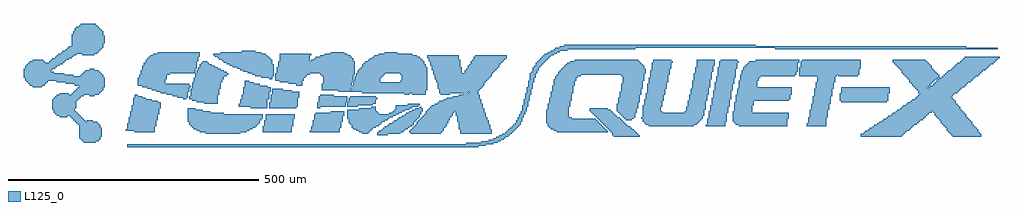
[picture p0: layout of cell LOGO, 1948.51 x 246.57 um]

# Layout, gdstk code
import gdstk
lib = gdstk.Library(unit=1e-6, precision=1e-09)
def P(c, l, *ps):  # polygons
    for p in ps: c.add(gdstk.Polygon(p, *l))
L125_0 = (125, 0)

logo = lib.new_cell('LOGO')
P(logo, L125_0, [(-16.575,-6.685),(-16.575,-0.671),(659.991,-0.671),(659.991,2.336),(690.061,2.336),(690.061,5.342),(705.096,5.342),(705.096,8.349),(714.116,8.349),(714.116,11.356),(720.13,11.356),(720.13,14.363),(726.144,14.363),(726.144,17.37),(732.158,17.37),(732.158,20.377),(738.172,20.377),(738.172,23.384),(741.179,23.384),(741.179,26.391),(744.186,26.391),(744.186,29.398),(747.193,29.398),(747.193,32.405),(750.2,32.405),(750.2,35.412),(753.207,35.412),(753.207,38.419),(756.214,38.419),(756.214,41.426),(759.221,41.426),(759.221,47.44),(762.228,47.44),(762.228,53.454),(765.235,53.454),(765.235,59.468),(768.242,59.468),(768.242,65.482),(771.249,65.482),(771.249,77.51),(774.256,77.51),(774.256,89.537),(777.263,89.537),(777.263,101.565),(780.27,101.565),(780.27,113.593),(783.277,113.593),(783.277,125.621),(786.284,125.621),(786.284,140.656),(789.29,140.656),(789.29,143.663),(792.297,143.663),(792.297,152.684),(795.304,152.684),(795.304,155.69),(798.311,155.69),(798.311,161.704),(801.318,161.704),(801.318,164.711),(804.325,164.711),(804.325,167.718),(807.332,167.718),(807.332,170.725),(810.339,170.725),(810.339,173.732),(813.346,173.732),(813.346,176.739),(816.353,176.739),(816.353,179.746),(822.367,179.746),(822.367,182.753),(828.381,182.753),(828.381,185.76),(834.395,185.76),(834.395,188.767),(837.402,188.767),(837.402,191.774),(846.423,191.774),(846.423,194.781),(855.444,194.781),(855.444,197.788),(1237.328,197.788),(1237.328,194.781),(1658.302,194.781),(1658.302,191.774),(1721.448,191.774),(1721.448,188.767),(1276.418,188.767),(1276.418,191.774),(996.771,191.774),(996.771,188.767),(861.458,188.767),(861.458,185.76),(846.423,185.76),(846.423,182.753),(840.409,182.753),(840.409,179.746),(834.395,179.746),(834.395,176.739),(828.381,176.739),(828.381,173.732),(825.374,173.732),(825.374,170.725),(822.367,170.725),(822.367,167.718),(819.36,167.718),(819.36,164.711),(816.353,164.711),(816.353,161.704),(813.346,161.704),(813.346,158.697),(810.339,158.697),(810.339,155.69),(807.332,155.69),(807.332,152.684),(804.325,152.684),(804.325,146.67),(801.318,146.67),(801.318,140.656),(798.311,140.656),(798.311,131.635),(795.304,131.635),(795.304,122.614),(792.297,122.614),(792.297,110.586),(789.29,110.586),(789.29,98.558),(786.284,98.558),(786.284,86.53),(783.277,86.53),(783.277,74.503),(780.27,74.503),(780.27,65.482),(777.263,65.482),(777.263,59.468),(774.256,59.468),(774.256,53.454),(771.249,53.454),(771.249,44.433),(768.242,44.433),(768.242,38.419),(765.235,38.419),(765.235,35.412),(762.228,35.412),(762.228,32.405),(759.221,32.405),(759.221,29.398),(756.214,29.398),(756.214,26.391),(753.207,26.391),(753.207,23.384),(750.2,23.384),(750.2,20.377),(747.193,20.377),(747.193,17.37),(744.186,17.37),(744.186,14.363),(738.172,14.363),(738.172,11.356),(735.165,11.356),(735.165,8.349),(729.151,8.349),(729.151,5.342),(723.137,5.342),(723.137,2.336),(714.116,2.336),(714.116,-0.671),(699.082,-0.671),(699.082,-3.678),(684.047,-3.678),(684.047,-6.685)],
  [(266.079,128.628),(266.079,131.635),(251.045,131.635),(251.045,134.642),(239.017,134.642),(239.017,137.649),(233.003,137.649),(233.003,140.656),(223.982,140.656),(223.982,143.663),(214.961,143.663),(214.961,146.67),(208.947,146.67),(208.947,149.677),(202.933,149.677),(202.933,152.684),(193.912,152.684),(193.912,155.69),(187.898,155.69),(187.898,158.697),(181.885,158.697),(181.885,161.704),(175.871,161.704),(175.871,164.711),(172.864,164.711),(172.864,167.718),(166.85,167.718),(166.85,170.725),(163.843,170.725),(163.843,173.732),(157.829,173.732),(157.829,176.739),(154.822,176.739),(154.822,179.746),(169.857,179.746),(169.857,182.753),(211.954,182.753),(211.954,185.76),(239.017,185.76),(239.017,182.753),(251.045,182.753),(251.045,179.746),(260.066,179.746),(260.066,176.739),(263.072,176.739),(263.072,173.732),(266.079,173.732),(266.079,170.725),(269.086,170.725),(269.086,167.718),(272.093,167.718),(272.093,158.697),(275.1,158.697),(275.1,134.642),(272.093,134.642),(272.093,128.628)],
  [(94.683,89.537),(94.683,92.544),(82.655,92.544),(82.655,95.551),(73.634,95.551),(73.634,98.558),(61.606,98.558),(61.606,101.565),(49.578,101.565),(49.578,104.572),(40.557,104.572),(40.557,107.579),(31.537,107.579),(31.537,110.586),(22.516,110.586),(22.516,113.593),(13.495,113.593),(13.495,116.6),(4.474,116.6),(4.474,131.635),(7.481,131.635),(7.481,137.649),(10.488,137.649),(10.488,146.67),(13.495,146.67),(13.495,155.69),(16.502,155.69),(16.502,161.704),(19.509,161.704),(19.509,167.718),(22.516,167.718),(22.516,170.725),(25.523,170.725),(25.523,173.732),(28.53,173.732),(28.53,176.739),(34.544,176.739),(34.544,179.746),(43.564,179.746),(43.564,182.753),(127.759,182.753),(127.759,173.732),(124.752,173.732),(124.752,164.711),(121.745,164.711),(121.745,149.677),(118.738,149.677),(118.738,140.656),(67.62,140.656),(67.62,137.649),(61.606,137.649),(61.606,128.628),(58.599,128.628),(58.599,119.607),(106.711,119.607),(106.711,116.6),(109.718,116.6),(109.718,113.593),(106.711,113.593),(106.711,104.572),(103.704,104.572),(103.704,92.544),(100.697,92.544),(100.697,89.537)],
  [(1447.815,14.363),(1447.815,20.377),(1453.829,20.377),(1453.829,23.384),(1456.836,23.384),(1456.836,26.391),(1462.85,26.391),(1462.85,29.398),(1465.856,29.398),(1465.856,32.405),(1471.87,32.405),(1471.87,35.412),(1474.877,35.412),(1474.877,38.419),(1480.891,38.419),(1480.891,41.426),(1483.898,41.426),(1483.898,44.433),(1489.912,44.433),(1489.912,47.44),(1492.919,47.44),(1492.919,50.447),(1498.933,50.447),(1498.933,53.454),(1501.94,53.454),(1501.94,56.461),(1507.954,56.461),(1507.954,59.468),(1510.961,59.468),(1510.961,62.475),(1516.975,62.475),(1516.975,65.482),(1519.982,65.482),(1519.982,68.489),(1525.996,68.489),(1525.996,71.496),(1529.003,71.496),(1529.003,74.503),(1532.01,74.503),(1532.01,77.51),(1538.024,77.51),(1538.024,80.516),(1541.03,80.516),(1541.03,83.523),(1547.044,83.523),(1547.044,86.53),(1550.051,86.53),(1550.051,89.537),(1556.065,89.537),(1556.065,92.544),(1559.072,92.544),(1559.072,95.551),(1562.079,95.551),(1562.079,98.558),(1565.086,98.558),(1565.086,101.565),(1562.079,101.565),(1562.079,107.579),(1559.072,107.579),(1559.072,110.586),(1556.065,110.586),(1556.065,113.593),(1553.058,113.593),(1553.058,116.6),(1550.051,116.6),(1550.051,119.607),(1547.044,119.607),(1547.044,122.614),(1544.037,122.614),(1544.037,128.628),(1541.03,128.628),(1541.03,131.635),(1538.024,131.635),(1538.024,134.642),(1535.017,134.642),(1535.017,137.649),(1532.01,137.649),(1532.01,140.656),(1529.003,140.656),(1529.003,146.67),(1525.996,146.67),(1525.996,149.677),(1522.989,149.677),(1522.989,152.684),(1519.982,152.684),(1519.982,155.69),(1516.975,155.69),(1516.975,158.697),(1513.968,158.697),(1513.968,161.704),(1510.961,161.704),(1510.961,167.718),(1577.114,167.718),(1577.114,164.711),(1580.121,164.711),(1580.121,161.704),(1583.128,161.704),(1583.128,158.697),(1586.135,158.697),(1586.135,155.69),(1589.142,155.69),(1589.142,149.677),(1592.149,149.677),(1592.149,146.67),(1595.156,146.67),(1595.156,125.621),(1592.149,125.621),(1592.149,122.614),(1589.142,122.614),(1589.142,119.607),(1586.135,119.607),(1586.135,116.6),(1583.128,116.6),(1583.128,113.593),(1580.121,113.593),(1580.121,110.586),(1583.128,110.586),(1583.128,113.593),(1586.135,113.593),(1586.135,116.6),(1592.149,116.6),(1592.149,119.607),(1595.156,119.607),(1595.156,62.475),(1592.149,62.475),(1592.149,65.482),(1589.142,65.482),(1589.142,62.475),(1583.128,62.475),(1583.128,59.468),(1580.121,59.468),(1580.121,56.461),(1577.114,56.461),(1577.114,53.454),(1574.107,53.454),(1574.107,50.447),(1571.1,50.447),(1571.1,47.44),(1565.086,47.44),(1565.086,44.433),(1562.079,44.433),(1562.079,41.426),(1559.072,41.426),(1559.072,38.419),(1553.058,38.419),(1553.058,35.412),(1550.051,35.412),(1550.051,32.405),(1547.044,32.405),(1547.044,29.398),(1544.037,29.398),(1544.037,26.391),(1538.024,26.391),(1538.024,23.384),(1535.017,23.384),(1535.017,20.377),(1532.01,20.377),(1532.01,17.37),(1529.003,17.37),(1529.003,14.363)],
  [(1631.239,14.363),(1631.239,17.37),(1628.232,17.37),(1628.232,20.377),(1625.225,20.377),(1625.225,23.384),(1622.218,23.384),(1622.218,26.391),(1619.211,26.391),(1619.211,32.405),(1616.204,32.405),(1616.204,35.412),(1613.198,35.412),(1613.198,38.419),(1610.191,38.419),(1610.191,41.426),(1607.184,41.426),(1607.184,47.44),(1604.177,47.44),(1604.177,50.447),(1601.17,50.447),(1601.17,53.454),(1598.163,53.454),(1598.163,56.461),(1595.156,56.461),(1595.156,122.614),(1598.163,122.614),(1598.163,125.621),(1601.17,125.621),(1601.17,128.628),(1604.177,128.628),(1604.177,131.635),(1610.191,131.635),(1610.191,134.642),(1613.198,134.642),(1613.198,137.649),(1616.204,137.649),(1616.204,140.656),(1619.211,140.656),(1619.211,143.663),(1622.218,143.663),(1622.218,146.67),(1628.232,146.67),(1628.232,149.677),(1631.239,149.677),(1631.239,152.684),(1634.246,152.684),(1634.246,155.69),(1637.253,155.69),(1637.253,158.697),(1640.26,158.697),(1640.26,161.704),(1646.274,161.704),(1646.274,164.711),(1649.281,164.711),(1649.281,167.718),(1652.288,167.718),(1652.288,170.725),(1655.295,170.725),(1655.295,173.732),(1724.455,173.732),(1724.455,170.725),(1721.448,170.725),(1721.448,167.718),(1718.441,167.718),(1718.441,164.711),(1715.434,164.711),(1715.434,161.704),(1712.427,161.704),(1712.427,158.697),(1706.413,158.697),(1706.413,155.69),(1703.406,155.69),(1703.406,152.684),(1700.399,152.684),(1700.399,149.677),(1697.392,149.677),(1697.392,146.67),(1691.378,146.67),(1691.378,143.663),(1688.372,143.663),(1688.372,140.656),(1685.365,140.656),(1685.365,137.649),(1682.358,137.649),(1682.358,134.642),(1676.344,134.642),(1676.344,131.635),(1673.337,131.635),(1673.337,128.628),(1670.33,128.628),(1670.33,125.621),(1667.323,125.621),(1667.323,122.614),(1661.309,122.614),(1661.309,119.607),(1658.302,119.607),(1658.302,116.6),(1655.295,116.6),(1655.295,113.593),(1649.281,113.593),(1649.281,110.586),(1646.274,110.586),(1646.274,107.579),(1643.267,107.579),(1643.267,104.572),(1640.26,104.572),(1640.26,101.565),(1634.246,101.565),(1634.246,98.558),(1631.239,98.558),(1631.239,95.551),(1628.232,95.551),(1628.232,92.544),(1631.239,92.544),(1631.239,89.537),(1634.246,89.537),(1634.246,86.53),(1637.253,86.53),(1637.253,80.516),(1640.26,80.516),(1640.26,77.51),(1643.267,77.51),(1643.267,74.503),(1646.274,74.503),(1646.274,68.489),(1649.281,68.489),(1649.281,65.482),(1652.288,65.482),(1652.288,62.475),(1655.295,62.475),(1655.295,59.468),(1658.302,59.468),(1658.302,53.454),(1661.309,53.454),(1661.309,50.447),(1664.316,50.447),(1664.316,47.44),(1667.323,47.44),(1667.323,44.433),(1670.33,44.433),(1670.33,38.419),(1673.337,38.419),(1673.337,35.412),(1676.344,35.412),(1676.344,32.405),(1679.351,32.405),(1679.351,29.398),(1682.358,29.398),(1682.358,23.384),(1685.365,23.384),(1685.365,20.377),(1688.372,20.377),(1688.372,14.363)],
  [(1595.156,128.628),(1595.156,143.663),(1598.163,143.663),(1598.163,140.656),(1601.17,140.656),(1601.17,137.649),(1604.177,137.649),(1604.177,131.635),(1601.17,131.635),(1601.17,128.628)],
  [(1339.564,35.412),(1339.564,41.426),(1342.571,41.426),(1342.571,53.454),(1345.578,53.454),(1345.578,68.489),(1348.585,68.489),(1348.585,80.516),(1351.592,80.516),(1351.592,95.551),(1354.599,95.551),(1354.599,110.586),(1357.606,110.586),(1357.606,122.614),(1360.613,122.614),(1360.613,134.642),(1324.529,134.642),(1324.529,152.684),(1327.536,152.684),(1327.536,164.711),(1330.543,164.711),(1330.543,167.718),(1447.815,167.718),(1447.815,149.677),(1444.808,149.677),(1444.808,137.649),(1441.801,137.649),(1441.801,134.642),(1402.71,134.642),(1402.71,137.649),(1399.703,137.649),(1399.703,134.642),(1396.696,134.642),(1396.696,122.614),(1393.689,122.614),(1393.689,110.586),(1390.682,110.586),(1390.682,95.551),(1387.676,95.551),(1387.676,80.516),(1384.669,80.516),(1384.669,68.489),(1381.662,68.489),(1381.662,53.454),(1378.655,53.454),(1378.655,35.412)],
  [(1204.251,35.412),(1204.251,38.419),(1198.237,38.419),(1198.237,41.426),(1195.23,41.426),(1195.23,44.433),(1192.223,44.433),(1192.223,65.482),(1195.23,65.482),(1195.23,83.523),(1198.237,83.523),(1198.237,98.558),(1201.244,98.558),(1201.244,110.586),(1204.251,110.586),(1204.251,125.621),(1207.258,125.621),(1207.258,137.649),(1210.265,137.649),(1210.265,146.67),(1213.272,146.67),(1213.272,152.684),(1216.279,152.684),(1216.279,155.69),(1219.286,155.69),(1219.286,158.697),(1222.293,158.697),(1222.293,161.704),(1225.3,161.704),(1225.3,164.711),(1237.328,164.711),(1237.328,167.718),(1324.529,167.718),(1324.529,161.704),(1321.522,161.704),(1321.522,143.663),(1318.515,143.663),(1318.515,137.649),(1315.508,137.649),(1315.508,134.642),(1246.348,134.642),(1246.348,131.635),(1243.341,131.635),(1243.341,125.621),(1240.334,125.621),(1240.334,113.593),(1309.495,113.593),(1309.495,98.558),(1306.488,98.558),(1306.488,89.537),(1303.481,89.537),(1303.481,86.53),(1234.321,86.53),(1234.321,77.51),(1231.314,77.51),(1231.314,62.475),(1303.481,62.475),(1303.481,50.447),(1300.474,50.447),(1300.474,35.412)],
  [(840.409,23.384),(840.409,26.391),(834.395,26.391),(834.395,29.398),(828.381,29.398),(828.381,32.405),(825.374,32.405),(825.374,35.412),(822.367,35.412),(822.367,41.426),(819.36,41.426),(819.36,68.489),(822.367,68.489),(822.367,80.516),(825.374,80.516),(825.374,92.544),(828.381,92.544),(828.381,104.572),(831.388,104.572),(831.388,116.6),(834.395,116.6),(834.395,128.628),(837.402,128.628),(837.402,134.642),(840.409,134.642),(840.409,137.649),(843.416,137.649),(843.416,143.663),(846.423,143.663),(846.423,146.67),(849.43,146.67),(849.43,149.677),(852.437,149.677),(852.437,152.684),(855.444,152.684),(855.444,155.69),(858.451,155.69),(858.451,158.697),(861.458,158.697),(861.458,161.704),(867.471,161.704),(867.471,164.711),(876.492,164.711),(876.492,167.718),(1002.785,167.718),(1002.785,164.711),(1005.792,164.711),(1005.792,161.704),(1008.799,161.704),(1008.799,158.697),(1011.806,158.697),(1011.806,155.69),(1014.812,155.69),(1014.812,149.677),(1017.819,149.677),(1017.819,140.656),(1014.812,140.656),(1014.812,125.621),(1011.806,125.621),(1011.806,110.586),(1008.799,110.586),(1008.799,98.558),(1005.792,98.558),(1005.792,83.523),(1002.785,83.523),(1002.785,71.496),(999.778,71.496),(999.778,62.475),(996.771,62.475),(996.771,53.454),(993.764,53.454),(993.764,50.447),(990.757,50.447),(990.757,47.44),(978.729,47.44),(978.729,50.447),(975.722,50.447),(975.722,53.454),(972.715,53.454),(972.715,56.461),(969.708,56.461),(969.708,59.468),(966.701,59.468),(966.701,62.475),(963.694,62.475),(963.694,65.482),(960.687,65.482),(960.687,80.516),(963.694,80.516),(963.694,92.544),(966.701,92.544),(966.701,104.572),(969.708,104.572),(969.708,119.607),(972.715,119.607),(972.715,134.642),(969.708,134.642),(969.708,137.649),(888.52,137.649),(888.52,134.642),(882.506,134.642),(882.506,131.635),(879.499,131.635),(879.499,125.621),(876.492,125.621),(876.492,116.6),(873.485,116.6),(873.485,101.565),(870.478,101.565),(870.478,86.53),(867.471,86.53),(867.471,74.503),(864.464,74.503),(864.464,53.454),(870.478,53.454),(870.478,50.447),(918.59,50.447),(918.59,47.44),(921.597,47.44),(921.597,44.433),(924.604,44.433),(924.604,41.426),(927.611,41.426),(927.611,38.419),(930.618,38.419),(930.618,35.412),(933.625,35.412),(933.625,32.405),(936.632,32.405),(936.632,29.398),(939.638,29.398),(939.638,26.391),(942.645,26.391),(942.645,23.384)],
  [(1138.098,35.412),(1138.098,38.419),(1141.105,38.419),(1141.105,50.447),(1144.112,50.447),(1144.112,65.482),(1147.119,65.482),(1147.119,77.51),(1150.126,77.51),(1150.126,92.544),(1153.133,92.544),(1153.133,107.579),(1156.14,107.579),(1156.14,122.614),(1159.147,122.614),(1159.147,134.642),(1162.154,134.642),(1162.154,152.684),(1165.16,152.684),(1165.16,164.711),(1168.167,164.711),(1168.167,167.718),(1201.244,167.718),(1201.244,164.711),(1204.251,164.711),(1204.251,161.704),(1201.244,161.704),(1201.244,149.677),(1198.237,149.677),(1198.237,131.635),(1195.23,131.635),(1195.23,119.607),(1192.223,119.607),(1192.223,107.579),(1189.216,107.579),(1189.216,89.537),(1186.209,89.537),(1186.209,74.503),(1183.202,74.503),(1183.202,62.475),(1180.195,62.475),(1180.195,44.433),(1177.188,44.433),(1177.188,35.412)],
  [(1023.833,35.412),(1023.833,38.419),(1017.819,38.419),(1017.819,41.426),(1014.812,41.426),(1014.812,44.433),(1011.806,44.433),(1011.806,50.447),(1008.799,50.447),(1008.799,53.454),(1011.806,53.454),(1011.806,77.51),(1014.812,77.51),(1014.812,89.537),(1017.819,89.537),(1017.819,101.565),(1020.826,101.565),(1020.826,119.607),(1023.833,119.607),(1023.833,131.635),(1026.84,131.635),(1026.84,146.67),(1029.847,146.67),(1029.847,161.704),(1032.854,161.704),(1032.854,167.718),(1068.938,167.718),(1068.938,164.711),(1071.945,164.711),(1071.945,161.704),(1068.938,161.704),(1068.938,149.677),(1065.931,149.677),(1065.931,137.649),(1062.924,137.649),(1062.924,122.614),(1059.917,122.614),(1059.917,110.586),(1056.91,110.586),(1056.91,98.558),(1053.903,98.558),(1053.903,86.53),(1050.896,86.53),(1050.896,74.503),(1047.889,74.503),(1047.889,65.482),(1050.896,65.482),(1050.896,62.475),(1096,62.475),(1096,65.482),(1099.007,65.482),(1099.007,74.503),(1102.014,74.503),(1102.014,86.53),(1105.021,86.53),(1105.021,98.558),(1108.028,98.558),(1108.028,110.586),(1111.035,110.586),(1111.035,125.621),(1114.042,125.621),(1114.042,140.656),(1117.049,140.656),(1117.049,152.684),(1120.056,152.684),(1120.056,167.718),(1156.14,167.718),(1156.14,155.69),(1153.133,155.69),(1153.133,143.663),(1150.126,143.663),(1150.126,128.628),(1147.119,128.628),(1147.119,113.593),(1144.112,113.593),(1144.112,98.558),(1141.105,98.558),(1141.105,86.53),(1138.098,86.53),(1138.098,68.489),(1135.091,68.489),(1135.091,56.461),(1132.084,56.461),(1132.084,50.447),(1129.077,50.447),(1129.077,47.44),(1126.07,47.44),(1126.07,44.433),(1123.063,44.433),(1123.063,41.426),(1120.056,41.426),(1120.056,38.419),(1114.042,38.419),(1114.042,35.412)],
  [(136.78,80.516),(136.78,83.523),(121.745,83.523),(121.745,86.53),(112.724,86.53),(112.724,89.537),(106.711,89.537),(106.711,95.551),(109.718,95.551),(109.718,110.586),(112.724,110.586),(112.724,122.614),(115.731,122.614),(115.731,131.635),(118.738,131.635),(118.738,140.656),(121.745,140.656),(121.745,146.67),(124.752,146.67),(124.752,152.684),(127.759,152.684),(127.759,158.697),(130.766,158.697),(130.766,161.704),(133.773,161.704),(133.773,164.711),(142.794,164.711),(142.794,161.704),(145.801,161.704),(145.801,158.697),(151.815,158.697),(151.815,155.69),(157.829,155.69),(157.829,152.684),(163.843,152.684),(163.843,149.677),(169.857,149.677),(169.857,146.67),(175.871,146.67),(175.871,143.663),(181.885,143.663),(181.885,140.656),(184.892,140.656),(184.892,137.649),(181.885,137.649),(181.885,134.642),(175.871,134.642),(175.871,128.628),(172.864,128.628),(172.864,122.614),(169.857,122.614),(169.857,110.586),(166.85,110.586),(166.85,98.558),(163.843,98.558),(163.843,80.516)],
  [(229.996,71.496),(229.996,74.503),(205.94,74.503),(205.94,80.516),(208.947,80.516),(208.947,89.537),(211.954,89.537),(211.954,98.558),(214.961,98.558),(214.961,113.593),(217.968,113.593),(217.968,125.621),(226.989,125.621),(226.989,122.614),(236.01,122.614),(236.01,119.607),(248.038,119.607),(248.038,116.6),(263.072,116.6),(263.072,113.593),(269.086,113.593),(269.086,104.572),(266.079,104.572),(266.079,89.537),(263.072,89.537),(263.072,71.496)],
  [(1408.724,83.523),(1408.724,86.53),(1405.717,86.53),(1405.717,101.565),(1408.724,101.565),(1408.724,113.593),(1504.947,113.593),(1504.947,101.565),(1501.94,101.565),(1501.94,86.53),(1498.933,86.53),(1498.933,83.523)],
  [(266.079,71.496),(266.079,83.523),(269.086,83.523),(269.086,98.558),(272.093,98.558),(272.093,110.586),(293.142,110.586),(293.142,107.579),(311.184,107.579),(311.184,104.572),(326.219,104.572),(326.219,92.544),(323.212,92.544),(323.212,74.503),(320.205,74.503),(320.205,71.496)],
  [(362.302,71.496),(362.302,83.523),(365.309,83.523),(365.309,95.551),(368.316,95.551),(368.316,98.558),(395.379,98.558),(395.379,95.551),(422.441,95.551),(422.441,83.523),(419.434,83.523),(419.434,74.503),(368.316,74.503),(368.316,71.496)],
  [(-1.54,23.384),(-1.54,26.391),(-19.582,26.391),(-19.582,29.398),(-16.575,29.398),(-16.575,41.426),(-13.568,41.426),(-13.568,53.454),(-10.561,53.454),(-10.561,65.482),(-7.554,65.482),(-7.554,77.51),(-4.547,77.51),(-4.547,92.544),(-1.54,92.544),(-1.54,98.558),(4.474,98.558),(4.474,95.551),(13.495,95.551),(13.495,92.544),(19.509,92.544),(19.509,89.537),(31.537,89.537),(31.537,86.53),(43.564,86.53),(43.564,83.523),(49.578,83.523),(49.578,71.496),(46.571,71.496),(46.571,59.468),(43.564,59.468),(43.564,47.44),(40.557,47.44),(40.557,35.412),(37.55,35.412),(37.55,23.384)],
  [(422.441,74.503),(422.441,83.523),(425.448,83.523),(425.448,92.544),(428.455,92.544),(428.455,95.551),(479.574,95.551),(479.574,92.544),(482.581,92.544),(482.581,89.537),(479.574,89.537),(479.574,80.516),(473.56,80.516),(473.56,77.51),(443.49,77.51),(443.49,74.503)],
  [(452.511,20.377),(452.511,23.384),(446.497,23.384),(446.497,26.391),(440.483,26.391),(440.483,29.398),(434.469,29.398),(434.469,32.405),(431.462,32.405),(431.462,38.419),(428.455,38.419),(428.455,41.426),(425.448,41.426),(425.448,50.447),(422.441,50.447),(422.441,68.489),(446.497,68.489),(446.497,71.496),(470.553,71.496),(470.553,74.503),(479.574,74.503),(479.574,65.482),(482.581,65.482),(482.581,62.475),(485.588,62.475),(485.588,59.468),(506.636,59.468),(506.636,62.475),(512.65,62.475),(512.65,65.482),(515.657,65.482),(515.657,68.489),(518.664,68.489),(518.664,77.51),(542.72,77.51),(542.72,80.516),(566.775,80.516),(566.775,77.51),(563.768,77.51),(563.768,74.503),(551.741,74.503),(551.741,71.496),(545.727,71.496),(545.727,68.489),(536.706,68.489),(536.706,65.482),(530.692,65.482),(530.692,62.475),(524.678,62.475),(524.678,59.468),(518.664,59.468),(518.664,56.461),(512.65,56.461),(512.65,53.454),(506.636,53.454),(506.636,50.447),(503.629,50.447),(503.629,47.44),(497.615,47.44),(497.615,44.433),(491.601,44.433),(491.601,41.426),(488.594,41.426),(488.594,38.419),(485.588,38.419),(485.588,35.412),(479.574,35.412),(479.574,32.405),(473.56,32.405),(473.56,29.398),(470.553,29.398),(470.553,26.391),(467.546,26.391),(467.546,23.384),(464.539,23.384),(464.539,20.377)],
  [(482.581,17.37),(482.581,23.384),(485.588,23.384),(485.588,26.391),(491.601,26.391),(491.601,29.398),(494.608,29.398),(494.608,32.405),(497.615,32.405),(497.615,35.412),(503.629,35.412),(503.629,38.419),(506.636,38.419),(506.636,41.426),(512.65,41.426),(512.65,44.433),(515.657,44.433),(515.657,47.44),(521.671,47.44),(521.671,50.447),(524.678,50.447),(524.678,53.454),(530.692,53.454),(530.692,56.461),(536.706,56.461),(536.706,59.468),(539.713,59.468),(539.713,62.475),(545.727,62.475),(545.727,65.482),(551.741,65.482),(551.741,68.489),(557.755,68.489),(557.755,71.496),(566.775,71.496),(566.775,74.503),(569.782,74.503),(569.782,71.496),(572.789,71.496),(572.789,65.482),(569.782,65.482),(569.782,59.468),(566.775,59.468),(566.775,53.454),(563.768,53.454),(563.768,50.447),(560.762,50.447),(560.762,47.44),(557.755,47.44),(557.755,44.433),(554.748,44.433),(554.748,38.419),(551.741,38.419),(551.741,35.412),(545.727,35.412),(545.727,32.405),(542.72,32.405),(542.72,29.398),(536.706,29.398),(536.706,26.391),(533.699,26.391),(533.699,23.384),(527.685,23.384),(527.685,20.377),(503.629,20.377),(503.629,17.37)],
  [(954.673,14.363),(954.673,17.37),(951.666,17.37),(951.666,23.384),(948.659,23.384),(948.659,26.391),(945.652,26.391),(945.652,29.398),(942.645,29.398),(942.645,32.405),(939.638,32.405),(939.638,35.412),(936.632,35.412),(936.632,38.419),(933.625,38.419),(933.625,41.426),(930.618,41.426),(930.618,44.433),(927.611,44.433),(927.611,47.44),(924.604,47.44),(924.604,50.447),(921.597,50.447),(921.597,53.454),(918.59,53.454),(918.59,56.461),(915.583,56.461),(915.583,59.468),(912.576,59.468),(912.576,62.475),(909.569,62.475),(909.569,65.482),(906.562,65.482),(906.562,71.496),(942.645,71.496),(942.645,68.489),(948.659,68.489),(948.659,65.482),(951.666,65.482),(951.666,62.475),(954.673,62.475),(954.673,59.468),(957.68,59.468),(957.68,56.461),(960.687,56.461),(960.687,53.454),(966.701,53.454),(966.701,50.447),(969.708,50.447),(969.708,47.44),(972.715,47.44),(972.715,44.433),(975.722,44.433),(975.722,41.426),(978.729,41.426),(978.729,38.419),(981.736,38.419),(981.736,35.412),(987.75,35.412),(987.75,32.405),(990.757,32.405),(990.757,29.398),(993.764,29.398),(993.764,26.391),(996.771,26.391),(996.771,23.384),(999.778,23.384),(999.778,20.377),(1002.785,20.377),(1002.785,17.37),(1005.792,17.37),(1005.792,14.363)],
  [(139.787,20.377),(139.787,23.384),(127.759,23.384),(127.759,26.391),(121.745,26.391),(121.745,29.398),(115.731,29.398),(115.731,32.405),(112.724,32.405),(112.724,35.412),(109.718,35.412),(109.718,38.419),(106.711,38.419),(106.711,44.433),(103.704,44.433),(103.704,71.496),(118.738,71.496),(118.738,68.489),(133.773,68.489),(133.773,65.482),(148.808,65.482),(148.808,62.475),(175.871,62.475),(175.871,59.468),(254.052,59.468),(254.052,50.447),(251.045,50.447),(251.045,47.44),(248.038,47.44),(248.038,41.426),(245.031,41.426),(245.031,38.419),(242.024,38.419),(242.024,35.412),(239.017,35.412),(239.017,32.405),(233.003,32.405),(233.003,29.398),(226.989,29.398),(226.989,26.391),(220.975,26.391),(220.975,23.384),(208.947,23.384),(208.947,20.377)],
  [(347.267,23.384),(347.267,26.391),(350.274,26.391),(350.274,35.412),(353.281,35.412),(353.281,47.44),(356.288,47.44),(356.288,59.468),(359.295,59.468),(359.295,62.475),(389.365,62.475),(389.365,65.482),(416.427,65.482),(416.427,56.461),(413.42,56.461),(413.42,44.433),(410.414,44.433),(410.414,32.405),(407.407,32.405),(407.407,23.384)],
  [(254.052,23.384),(254.052,35.412),(257.059,35.412),(257.059,47.44),(260.066,47.44),(260.066,59.468),(317.198,59.468),(317.198,50.447),(314.191,50.447),(314.191,35.412),(311.184,35.412),(311.184,23.384)],
  [(-206.013,113.593),(-206.013,116.6),(-212.027,116.6),(-212.027,119.607),(-215.034,119.607),(-215.034,122.614),(-218.041,122.614),(-218.041,125.621),(-175.944,125.621),(-175.944,122.614),(-178.951,122.614),(-178.951,119.607),(-181.958,119.607),(-181.958,116.6),(-187.972,116.6),(-187.972,113.593)],
  [(-103.777,2.336),(-103.777,5.342),(-106.784,5.342),(-106.784,8.349),(-109.791,8.349),(-109.791,11.356),(-112.798,11.356),(-112.798,38.419),(-115.804,38.419),(-115.804,41.426),(-118.811,41.426),(-118.811,44.433),(-121.818,44.433),(-121.818,47.44),(-124.825,47.44),(-124.825,50.447),(-127.832,50.447),(-127.832,53.454),(-130.839,53.454),(-130.839,56.461),(-136.853,56.461),(-136.853,53.454),(-151.888,53.454),(-151.888,56.461),(-157.902,56.461),(-157.902,59.468),(-160.909,59.468),(-160.909,62.475),(-163.916,62.475),(-163.916,68.489),(-166.923,68.489),(-166.923,89.537),(-163.916,89.537),(-163.916,92.544),(-160.909,92.544),(-160.909,95.551),(-157.902,95.551),(-157.902,98.558),(-151.888,98.558),(-151.888,101.565),(-133.846,101.565),(-133.846,98.558),(-127.832,98.558),(-127.832,101.565),(-124.825,101.565),(-124.825,104.572),(-121.818,104.572),(-121.818,107.579),(-118.811,107.579),(-118.811,110.586),(-115.804,110.586),(-115.804,113.593),(-112.798,113.593),(-112.798,116.6),(-121.818,116.6),(-121.818,119.607),(-139.86,119.607),(-139.86,122.614),(-157.902,122.614),(-157.902,125.621),(-61.679,125.621),(-61.679,113.593),(-64.686,113.593),(-64.686,107.579),(-67.693,107.579),(-67.693,104.572),(-70.7,104.572),(-70.7,101.565),(-73.707,101.565),(-73.707,98.558),(-82.728,98.558),(-82.728,95.551),(-91.749,95.551),(-91.749,98.558),(-103.777,98.558),(-103.777,95.551),(-109.791,95.551),(-109.791,92.544),(-112.798,92.544),(-112.798,89.537),(-115.804,89.537),(-115.804,86.53),(-118.811,86.53),(-118.811,71.496),(-121.818,71.496),(-121.818,65.482),(-118.811,65.482),(-118.811,62.475),(-115.804,62.475),(-115.804,59.468),(-112.798,59.468),(-112.798,56.461),(-109.791,56.461),(-109.791,53.454),(-106.784,53.454),(-106.784,50.447),(-103.777,50.447),(-103.777,47.44),(-100.77,47.44),(-100.77,44.433),(-97.763,44.433),(-97.763,47.44),(-85.735,47.44),(-85.735,44.433),(-76.714,44.433),(-76.714,41.426),(-73.707,41.426),(-73.707,38.419),(-70.7,38.419),(-70.7,32.405),(-67.693,32.405),(-67.693,14.363),(-70.7,14.363),(-70.7,8.349),(-73.707,8.349),(-73.707,5.342),(-79.721,5.342),(-79.721,2.336)],
  [(-221.048,125.621),(-221.048,131.635),(-224.055,131.635),(-224.055,149.677),(-221.048,149.677),(-221.048,155.69),(-218.041,155.69),(-218.041,158.697),(-215.034,158.697),(-215.034,161.704),(-212.027,161.704),(-212.027,164.711),(-206.013,164.711),(-206.013,167.718),(-184.965,167.718),(-184.965,164.711),(-181.958,164.711),(-181.958,161.704),(-172.937,161.704),(-172.937,164.711),(-169.93,164.711),(-169.93,167.718),(-166.923,167.718),(-166.923,170.725),(-160.909,170.725),(-160.909,173.732),(-157.902,173.732),(-157.902,176.739),(-154.895,176.739),(-154.895,179.746),(-148.881,179.746),(-148.881,182.753),(-145.874,182.753),(-145.874,185.76),(-139.86,185.76),(-139.86,188.767),(-136.853,188.767),(-136.853,191.774),(-133.846,191.774),(-133.846,194.781),(-127.832,194.781),(-127.832,218.837),(-124.825,218.837),(-124.825,224.851),(-121.818,224.851),(-121.818,230.864),(-118.811,230.864),(-118.811,233.871),(-112.798,233.871),(-112.798,236.878),(-109.791,236.878),(-109.791,239.885),(-79.721,239.885),(-79.721,236.878),(-76.714,236.878),(-76.714,233.871),(-73.707,233.871),(-73.707,230.864),(-70.7,230.864),(-70.7,227.858),(-67.693,227.858),(-67.693,224.851),(-64.686,224.851),(-64.686,215.83),(-61.679,215.83),(-61.679,200.795),(-64.686,200.795),(-64.686,191.774),(-67.693,191.774),(-67.693,188.767),(-70.7,188.767),(-70.7,185.76),(-73.707,185.76),(-73.707,182.753),(-76.714,182.753),(-76.714,179.746),(-82.728,179.746),(-82.728,176.739),(-106.784,176.739),(-106.784,179.746),(-118.811,179.746),(-118.811,176.739),(-124.825,176.739),(-124.825,173.732),(-127.832,173.732),(-127.832,170.725),(-133.846,170.725),(-133.846,167.718),(-139.86,167.718),(-139.86,164.711),(-142.867,164.711),(-142.867,161.704),(-145.874,161.704),(-145.874,158.697),(-151.888,158.697),(-151.888,155.69),(-157.902,155.69),(-157.902,152.684),(-160.909,152.684),(-160.909,149.677),(-166.923,149.677),(-166.923,146.67),(-169.93,146.67),(-169.93,143.663),(-163.916,143.663),(-163.916,140.656),(-142.867,140.656),(-142.867,137.649),(-124.825,137.649),(-124.825,134.642),(-109.791,134.642),(-109.791,137.649),(-106.784,137.649),(-106.784,140.656),(-103.777,140.656),(-103.777,143.663),(-100.77,143.663),(-100.77,146.67),(-91.749,146.67),(-91.749,149.677),(-82.728,149.677),(-82.728,146.67),(-73.707,146.67),(-73.707,143.663),(-70.7,143.663),(-70.7,140.656),(-67.693,140.656),(-67.693,137.649),(-64.686,137.649),(-64.686,131.635),(-61.679,131.635),(-61.679,125.621)],
  [(536.706,98.558),(536.706,101.565),(452.511,101.565),(452.511,104.572),(404.4,104.572),(404.4,107.579),(371.323,107.579),(428.455,107.579),(431.462,107.579),(431.462,110.586),(428.455,110.586),(428.455,107.579),(371.323,107.579),(371.323,116.6),(431.462,116.6),(434.469,116.6),(434.469,122.614),(431.462,122.614),(488.594,122.614),(527.685,122.614),(527.685,125.621),(530.692,125.621),(530.692,137.649),(527.685,137.649),(527.685,140.656),(497.615,140.656),(497.615,137.649),(494.608,137.649),(494.608,134.642),(491.601,134.642),(491.601,131.635),(488.594,131.635),(488.594,122.614),(431.462,122.614),(431.462,116.6),(371.323,116.6),(371.323,119.607),(374.33,119.607),(374.33,134.642),(371.323,134.642),(371.323,137.649),(368.316,137.649),(368.316,140.656),(347.267,140.656),(347.267,137.649),(341.253,137.649),(341.253,134.642),(338.246,134.642),(338.246,131.635),(335.24,131.635),(335.24,125.621),(332.233,125.621),(332.233,116.6),(320.205,116.6),(320.205,119.607),(305.17,119.607),(305.17,122.614),(287.128,122.614),(287.128,125.621),(278.107,125.621),(278.107,140.656),(281.114,140.656),(281.114,152.684),(284.121,152.684),(284.121,164.711),(287.128,164.711),(287.128,179.746),(350.274,179.746),(350.274,176.739),(347.267,176.739),(347.267,164.711),(350.274,164.711),(350.274,167.718),(356.288,167.718),(356.288,170.725),(359.295,170.725),(359.295,173.732),(368.316,173.732),(368.316,176.739),(377.337,176.739),(377.337,179.746),(389.365,179.746),(389.365,182.753),(416.427,182.753),(416.427,179.746),(422.441,179.746),(422.441,176.739),(428.455,176.739),(428.455,173.732),(431.462,173.732),(431.462,170.725),(434.469,170.725),(434.469,164.711),(437.476,164.711),(437.476,137.649),(434.469,137.649),(434.469,125.621),(437.476,125.621),(437.476,134.642),(440.483,134.642),(440.483,140.656),(443.49,140.656),(443.49,146.67),(446.497,146.67),(446.497,149.677),(449.504,149.677),(449.504,152.684),(452.511,152.684),(452.511,158.697),(455.518,158.697),(455.518,161.704),(458.525,161.704),(458.525,164.711),(464.539,164.711),(464.539,167.718),(467.546,167.718),(467.546,170.725),(473.56,170.725),(473.56,173.732),(476.567,173.732),(476.567,176.739),(485.588,176.739),(485.588,179.746),(497.615,179.746),(497.615,182.753),(521.671,182.753),(521.671,179.746),(551.741,179.746),(551.741,176.739),(560.762,176.739),(560.762,173.732),(566.775,173.732),(566.775,170.725),(569.782,170.725),(569.782,167.718),(572.789,167.718),(572.789,164.711),(575.796,164.711),(575.796,158.697),(578.803,158.697),(578.803,152.684),(581.81,152.684),(581.81,107.579),(578.803,107.579),(578.803,98.558),(551.741,98.558),(551.741,101.565),(545.727,101.565),(545.727,98.558)],
  [(548.734,20.377),(548.734,23.384),(545.727,23.384),(545.727,26.391),(548.734,26.391),(548.734,29.398),(551.741,29.398),(551.741,32.405),(554.748,32.405),(554.748,35.412),(557.755,35.412),(557.755,38.419),(560.762,38.419),(560.762,44.433),(563.768,44.433),(563.768,47.44),(566.775,47.44),(566.775,50.447),(569.782,50.447),(569.782,53.454),(572.789,53.454),(572.789,56.461),(575.796,56.461),(575.796,59.468),(578.803,59.468),(578.803,65.482),(581.81,65.482),(581.81,68.489),(584.817,68.489),(584.817,71.496),(587.824,71.496),(587.824,74.503),(590.831,74.503),(590.831,77.51),(596.845,77.51),(596.845,80.516),(602.859,80.516),(602.859,83.523),(605.866,83.523),(605.866,86.53),(614.887,86.53),(614.887,89.537),(620.901,89.537),(620.901,92.544),(632.929,92.544),(632.929,95.551),(644.956,95.551),(644.956,98.558),(653.977,98.558),(653.977,101.565),(626.915,101.565),(662.998,101.565),(666.005,101.565),(666.005,104.572),(662.998,104.572),(662.998,101.565),(626.915,101.565),(626.915,98.558),(608.873,98.558),(608.873,101.565),(605.866,101.565),(605.866,110.586),(602.859,110.586),(602.859,122.614),(599.852,122.614),(599.852,128.628),(596.845,128.628),(596.845,137.649),(593.838,137.649),(593.838,146.67),(590.831,146.67),(590.831,155.69),(587.824,155.69),(587.824,164.711),(584.817,164.711),(584.817,170.725),(581.81,170.725),(581.81,176.739),(644.956,176.739),(644.956,167.718),(647.963,167.718),(647.963,152.684),(650.97,152.684),(650.97,140.656),(656.984,140.656),(656.984,146.67),(659.991,146.67),(659.991,149.677),(662.998,149.677),(662.998,155.69),(666.005,155.69),(666.005,158.697),(669.012,158.697),(669.012,164.711),(672.019,164.711),(672.019,167.718),(675.026,167.718),(675.026,173.732),(678.033,173.732),(678.033,176.739),(741.179,176.739),(741.179,170.725),(738.172,170.725),(738.172,167.718),(735.165,167.718),(735.165,164.711),(732.158,164.711),(732.158,161.704),(729.151,161.704),(729.151,158.697),(726.144,158.697),(726.144,152.684),(723.137,152.684),(723.137,149.677),(720.13,149.677),(720.13,146.67),(717.123,146.67),(717.123,143.663),(714.116,143.663),(714.116,140.656),(711.11,140.656),(711.11,134.642),(708.103,134.642),(708.103,131.635),(705.096,131.635),(705.096,128.628),(702.089,128.628),(702.089,125.621),(699.082,125.621),(699.082,122.614),(696.075,122.614),(696.075,116.6),(693.068,116.6),(693.068,113.593),(690.061,113.593),(690.061,110.586),(687.054,110.586),(687.054,107.579),(684.047,107.579),(684.047,98.558),(687.054,98.558),(687.054,89.537),(690.061,89.537),(690.061,80.516),(693.068,80.516),(693.068,71.496),(696.075,71.496),(696.075,62.475),(699.082,62.475),(699.082,53.454),(702.089,53.454),(702.089,47.44),(705.096,47.44),(705.096,38.419),(708.103,38.419),(708.103,29.398),(711.11,29.398),(711.11,20.377),(647.963,20.377),(647.963,29.398),(644.956,29.398),(644.956,44.433),(641.949,44.433),(641.949,56.461),(638.942,56.461),(638.942,65.482),(635.936,65.482),(635.936,62.475),(632.929,62.475),(632.929,56.461),(629.922,56.461),(629.922,53.454),(626.915,53.454),(626.915,47.44),(623.908,47.44),(623.908,41.426),(620.901,41.426),(620.901,35.412),(617.894,35.412),(617.894,32.405),(614.887,32.405),(614.887,26.391),(611.88,26.391),(611.88,23.384),(608.873,23.384),(608.873,20.377)])

lib.write_gds('LOGO.gds')
